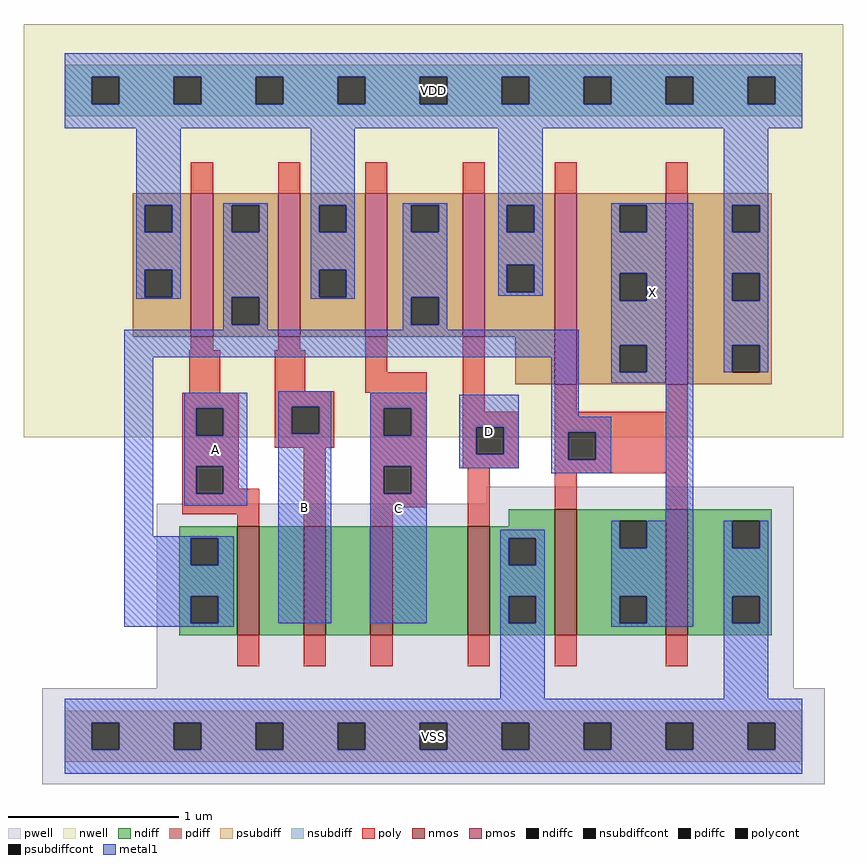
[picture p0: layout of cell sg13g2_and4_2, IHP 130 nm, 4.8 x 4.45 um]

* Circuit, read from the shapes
.subckt sg13g2_and4_2 X B A VDD VSS C D
XM1 n1 A n2 VSS sg13_lv_nmos w=0.64u l=0.13u
XM2 n3 B n1 VSS sg13_lv_nmos w=0.64u l=0.13u
XM3 n4 C n3 VSS sg13_lv_nmos w=0.64u l=0.13u
XM4 VSS D n4 VSS sg13_lv_nmos w=0.64u l=0.13u
XM5 X n2 VSS VSS sg13_lv_nmos w=0.74u l=0.13u m=2
XM6 n2 A VDD VDD sg13_lv_pmos w=0.84u l=0.13u
XM7 VDD B n2 VDD sg13_lv_pmos w=0.84u l=0.13u
XM8 n2 C VDD VDD sg13_lv_pmos w=0.84u l=0.13u
XM9 VDD D n2 VDD sg13_lv_pmos w=0.84u l=0.13u
XM10 X n2 VDD VDD sg13_lv_pmos w=1.12u l=0.13u m=2
.ends

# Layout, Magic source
magic
tech ihp-sg13g2
<< nwell >>
rect -24 175 456 417
<< pwell >>
rect 247 136 427 146
rect 54 28 427 136
rect -13 -28 445 28
<< nmos >>
rect 101 59 114 123
rect 140 59 153 123
rect 179 59 192 123
rect 236 59 249 123
rect 287 59 300 133
rect 352 59 365 133
<< pmos >>
rect 74 234 87 318
rect 125 234 138 318
rect 176 234 189 318
rect 233 234 246 318
rect 287 206 300 318
rect 352 206 365 318
<< ndiff >>
rect 260 123 287 133
rect 67 116 101 123
rect 67 100 74 116
rect 90 100 101 116
rect 67 82 101 100
rect 67 66 74 82
rect 90 66 101 82
rect 67 59 101 66
rect 114 59 140 123
rect 153 59 179 123
rect 192 59 236 123
rect 249 116 287 123
rect 249 100 260 116
rect 276 100 287 116
rect 249 82 287 100
rect 249 66 260 82
rect 276 66 287 82
rect 249 59 287 66
rect 300 126 352 133
rect 300 110 325 126
rect 341 110 352 126
rect 300 82 352 110
rect 300 66 325 82
rect 341 66 352 82
rect 300 59 352 66
rect 365 126 414 133
rect 365 110 391 126
rect 407 110 414 126
rect 365 82 414 110
rect 365 66 391 82
rect 407 66 414 82
rect 365 59 414 66
<< pdiff >>
rect 40 311 74 318
rect 40 295 47 311
rect 63 295 74 311
rect 40 273 74 295
rect 40 257 47 273
rect 63 257 74 273
rect 40 234 74 257
rect 87 311 125 318
rect 87 295 98 311
rect 114 295 125 311
rect 87 257 125 295
rect 87 241 98 257
rect 114 241 125 257
rect 87 234 125 241
rect 138 311 176 318
rect 138 295 149 311
rect 165 295 176 311
rect 138 273 176 295
rect 138 257 149 273
rect 165 257 176 273
rect 138 234 176 257
rect 189 311 233 318
rect 189 295 203 311
rect 219 295 233 311
rect 189 257 233 295
rect 189 241 203 257
rect 219 241 233 257
rect 189 234 233 241
rect 246 311 287 318
rect 246 295 259 311
rect 275 295 287 311
rect 246 276 287 295
rect 246 260 259 276
rect 275 260 287 276
rect 246 234 287 260
rect 264 206 287 234
rect 300 311 352 318
rect 300 295 325 311
rect 341 295 352 311
rect 300 271 352 295
rect 300 255 325 271
rect 341 255 352 271
rect 300 229 352 255
rect 300 213 325 229
rect 341 213 352 229
rect 300 206 352 213
rect 365 311 414 318
rect 365 295 391 311
rect 407 295 414 311
rect 365 271 414 295
rect 365 255 391 271
rect 407 255 414 271
rect 365 229 414 255
rect 365 213 391 229
rect 407 213 414 229
rect 365 206 414 213
<< ndiffc >>
rect 74 100 90 116
rect 74 66 90 82
rect 260 100 276 116
rect 260 66 276 82
rect 325 110 341 126
rect 325 66 341 82
rect 391 110 407 126
rect 391 66 407 82
<< pdiffc >>
rect 47 295 63 311
rect 47 257 63 273
rect 98 295 114 311
rect 98 241 114 257
rect 149 295 165 311
rect 149 257 165 273
rect 203 295 219 311
rect 203 241 219 257
rect 259 295 275 311
rect 259 260 275 276
rect 325 295 341 311
rect 325 255 341 271
rect 325 213 341 229
rect 391 295 407 311
rect 391 255 407 271
rect 391 213 407 229
<< psubdiff >>
rect 0 8 432 15
rect 0 -8 16 8
rect 32 -8 64 8
rect 80 -8 112 8
rect 128 -8 160 8
rect 176 -8 208 8
rect 224 -8 256 8
rect 272 -8 304 8
rect 320 -8 352 8
rect 368 -8 400 8
rect 416 -8 432 8
rect 0 -15 432 -8
<< nsubdiff >>
rect 0 386 432 393
rect 0 370 16 386
rect 32 370 64 386
rect 80 370 112 386
rect 128 370 160 386
rect 176 370 208 386
rect 224 370 256 386
rect 272 370 304 386
rect 320 370 352 386
rect 368 370 400 386
rect 416 370 432 386
rect 0 363 432 370
<< psubdiffcont >>
rect 16 -8 32 8
rect 64 -8 80 8
rect 112 -8 128 8
rect 160 -8 176 8
rect 208 -8 224 8
rect 256 -8 272 8
rect 304 -8 320 8
rect 352 -8 368 8
rect 400 -8 416 8
<< nsubdiffcont >>
rect 16 370 32 386
rect 64 370 80 386
rect 112 370 128 386
rect 160 370 176 386
rect 208 370 224 386
rect 256 370 272 386
rect 304 370 320 386
rect 352 370 368 386
rect 400 370 416 386
<< poly >>
rect 74 318 87 336
rect 125 318 138 336
rect 176 318 189 336
rect 233 318 246 336
rect 287 318 300 336
rect 352 318 365 336
rect 74 226 87 234
rect 125 226 138 234
rect 73 201 91 226
rect 123 202 141 226
rect 176 213 189 234
rect 69 192 102 201
rect 69 176 77 192
rect 93 176 102 192
rect 69 158 102 176
rect 123 193 158 202
rect 176 201 212 213
rect 123 177 133 193
rect 149 177 158 193
rect 123 169 158 177
rect 179 192 212 201
rect 179 176 187 192
rect 203 176 212 192
rect 69 142 77 158
rect 93 145 102 158
rect 93 142 114 145
rect 69 130 114 142
rect 101 123 114 130
rect 140 123 153 169
rect 179 158 212 176
rect 179 142 187 158
rect 203 142 212 158
rect 233 190 246 234
rect 287 190 300 206
rect 352 190 365 206
rect 233 181 266 190
rect 233 165 241 181
rect 257 165 266 181
rect 233 157 266 165
rect 287 178 365 190
rect 287 162 295 178
rect 311 162 365 178
rect 179 134 212 142
rect 179 123 192 134
rect 236 123 249 157
rect 287 154 365 162
rect 287 133 300 154
rect 352 133 365 154
rect 101 41 114 59
rect 140 41 153 59
rect 179 41 192 59
rect 236 41 249 59
rect 287 41 300 59
rect 352 41 365 59
<< polycont >>
rect 77 176 93 192
rect 133 177 149 193
rect 187 176 203 192
rect 77 142 93 158
rect 187 142 203 158
rect 241 165 257 181
rect 295 162 311 178
<< metal1 >>
rect 0 386 432 400
rect 0 370 16 386
rect 32 370 64 386
rect 80 370 112 386
rect 128 370 160 386
rect 176 370 208 386
rect 224 370 256 386
rect 272 370 304 386
rect 320 370 352 386
rect 368 370 400 386
rect 416 370 432 386
rect 0 356 432 370
rect 42 311 68 356
rect 42 295 47 311
rect 63 295 68 311
rect 42 273 68 295
rect 42 257 47 273
rect 63 257 68 273
rect 42 256 68 257
rect 93 311 119 312
rect 93 295 98 311
rect 114 295 119 311
rect 93 257 119 295
rect 93 241 98 257
rect 114 241 119 257
rect 144 311 170 356
rect 144 295 149 311
rect 165 295 170 311
rect 144 273 170 295
rect 144 257 149 273
rect 165 257 170 273
rect 144 256 170 257
rect 198 311 224 312
rect 198 295 203 311
rect 219 295 224 311
rect 198 257 224 295
rect 254 311 280 356
rect 254 295 259 311
rect 275 295 280 311
rect 254 276 280 295
rect 254 260 259 276
rect 275 260 280 276
rect 254 258 280 260
rect 320 311 368 312
rect 320 295 325 311
rect 341 295 368 311
rect 320 271 368 295
rect 93 238 119 241
rect 198 241 203 257
rect 219 241 224 257
rect 198 238 224 241
rect 320 255 325 271
rect 341 255 368 271
rect 35 222 301 238
rect 35 117 52 222
rect 70 192 107 201
rect 70 176 77 192
rect 93 176 107 192
rect 70 158 107 176
rect 70 142 77 158
rect 93 142 107 158
rect 70 135 107 142
rect 125 193 156 202
rect 125 177 133 193
rect 149 177 156 193
rect 35 116 99 117
rect 35 100 74 116
rect 90 100 99 116
rect 35 82 99 100
rect 35 66 74 82
rect 90 66 99 82
rect 125 66 156 177
rect 179 192 212 201
rect 179 176 187 192
rect 203 176 212 192
rect 179 158 212 176
rect 179 142 187 158
rect 203 142 212 158
rect 231 181 266 200
rect 231 165 241 181
rect 257 165 266 181
rect 231 157 266 165
rect 285 187 301 222
rect 320 229 368 255
rect 320 213 325 229
rect 341 213 368 229
rect 386 311 412 356
rect 386 295 391 311
rect 407 295 412 311
rect 386 271 412 295
rect 386 255 391 271
rect 407 255 412 271
rect 386 229 412 255
rect 386 213 391 229
rect 407 213 412 229
rect 320 207 368 213
rect 285 178 320 187
rect 285 162 295 178
rect 311 162 320 178
rect 285 154 320 162
rect 179 66 212 142
rect 352 126 368 207
rect 255 116 281 121
rect 255 100 260 116
rect 276 100 281 116
rect 255 82 281 100
rect 255 66 260 82
rect 276 66 281 82
rect 35 64 99 66
rect 255 22 281 66
rect 320 110 325 126
rect 341 110 368 126
rect 320 82 368 110
rect 320 66 325 82
rect 341 66 368 82
rect 320 64 368 66
rect 386 110 391 126
rect 407 110 412 126
rect 386 82 412 110
rect 386 66 391 82
rect 407 66 412 82
rect 386 22 412 66
rect 0 8 432 22
rect 0 -8 16 8
rect 32 -8 64 8
rect 80 -8 112 8
rect 128 -8 160 8
rect 176 -8 208 8
rect 224 -8 256 8
rect 272 -8 304 8
rect 320 -8 352 8
rect 368 -8 400 8
rect 416 -8 432 8
rect 0 -22 432 -8
<< labels >>
flabel metal1 s 320 207 368 312 0 FreeSans 200 0 0 0 X
port 2 nsew
flabel metal1 s 125 66 156 202 0 FreeSans 200 0 0 0 B
port 3 nsew
flabel metal1 s 70 135 107 201 0 FreeSans 200 0 0 0 A
port 4 nsew
flabel metal1 s 0 356 432 400 0 FreeSans 200 0 0 0 VDD
port 5 nsew
flabel metal1 s 0 -22 432 22 0 FreeSans 200 0 0 0 VSS
port 6 nsew
flabel metal1 s 179 66 212 201 0 FreeSans 200 0 0 0 C
port 7 nsew
flabel metal1 s 231 157 266 200 0 FreeSans 200 0 0 0 D
port 8 nsew
<< properties >>
string FIXED_BBOX 0 0 432 378
string GDS_END 113568
string GDS_FILE ../gds/controller.gds
string GDS_START 107454
<< end >>
